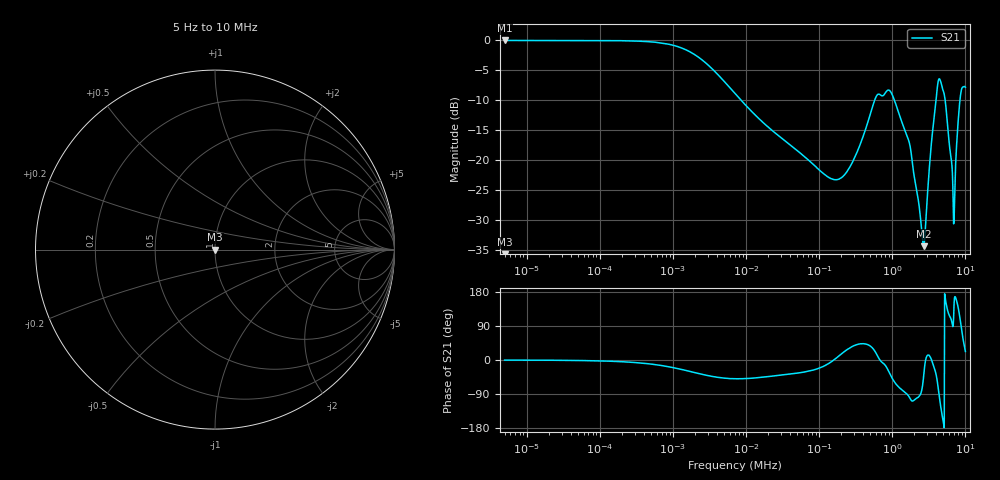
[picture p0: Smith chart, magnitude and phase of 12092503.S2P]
!Agilent Technologies,E5061B,MY49204007,A.02.12
!Date: Fri Sep 12 09:33:36 2025
!Data & Calibration Information:
!Freq	S11:SOLT2(OFF)	S21:SOLT2(OFF)	S12:SOLT2(OFF)	S22:SOLT2(OFF)
# Hz S dB R 50
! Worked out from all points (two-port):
!   1041 points, 5 Hz to 10 MHz, reference 50 ohm
!   highest |S21| = -0.05 dB at 5 Hz (marker M1); lowest = -34.4 dB at 2.7 MHz (marker M2)
!   |S21| within 3 dB of the highest: start of sweep to 2.359 kHz
!   lowest |S11| = - dB at 5 Hz (marker M3), VSWR 1.00, Z = 50 + j0 ohm
!   |S11| at or under -10 dB: start of sweep to end of sweep
!   S12 and S22 are empty: the file has one direction only
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5  -200.00 0.0  -0.05 -0.3  -200.00 0.0  -200.00 0.0
56.522  -200.00 0.0  -0.05 -1.4  -200.00 0.0  -200.00 0.0
632.897  -200.00 0.0  -0.40 -13.3  -200.00 0.0  -200.00 0.0
2229.669  -200.00 0.0  -2.83 -35.5  -200.00 0.0  -200.00 0.0
7154.49  -200.00 0.0  -8.97 -49.5  -200.00 0.0  -200.00 0.0
80111.67  -200.00 0.0  -20.57 -27.4  -200.00 0.0  -200.00 0.0
216671.6  -200.00 0.0  -22.64 20.8  -200.00 0.0  -200.00 0.0
536083.3  -200.00 0.0  -11.17 31.7  -200.00 0.0  -200.00 0.0
893075.1  -200.00 0.0  -8.34 -29.9  -200.00 0.0  -200.00 0.0
1075440  -200.00 0.0  -10.11 -58.4  -200.00 0.0  -200.00 0.0
1696631  -200.00 0.0  -16.96 -96.8  -200.00 0.0  -200.00 0.0
2699565  -200.00 0.0  -34.42 -38.1  -200.00 0.0  -200.00 0.0
3545558  -200.00 0.0  -15.43 -6.7  -200.00 0.0  -200.00 0.0
3935896  -200.00 0.0  -10.52 -34.5  -200.00 0.0  -200.00 0.0
4315301  -200.00 0.0  -6.57 -83.9  -200.00 0.0  -200.00 0.0
4568238  -200.00 0.0  -6.83 -119.3  -200.00 0.0  -200.00 0.0
4947644  -200.00 0.0  -8.37 -159.3  -200.00 0.0  -200.00 0.0
5599234  -200.00 0.0  -13.04 137.8  -200.00 0.0  -200.00 0.0
6906588  -200.00 0.0  -30.69 113.3  -200.00 0.0  -200.00 0.0
8438310  -200.00 0.0  -9.91 109.8  -200.00 0.0  -200.00 0.0
9038960  -200.00 0.0  -7.93 69.4  -200.00 0.0  -200.00 0.0
1e7  -200.00 0.0  -7.86 22.6  -200.00 0.0  -200.00 0.0
